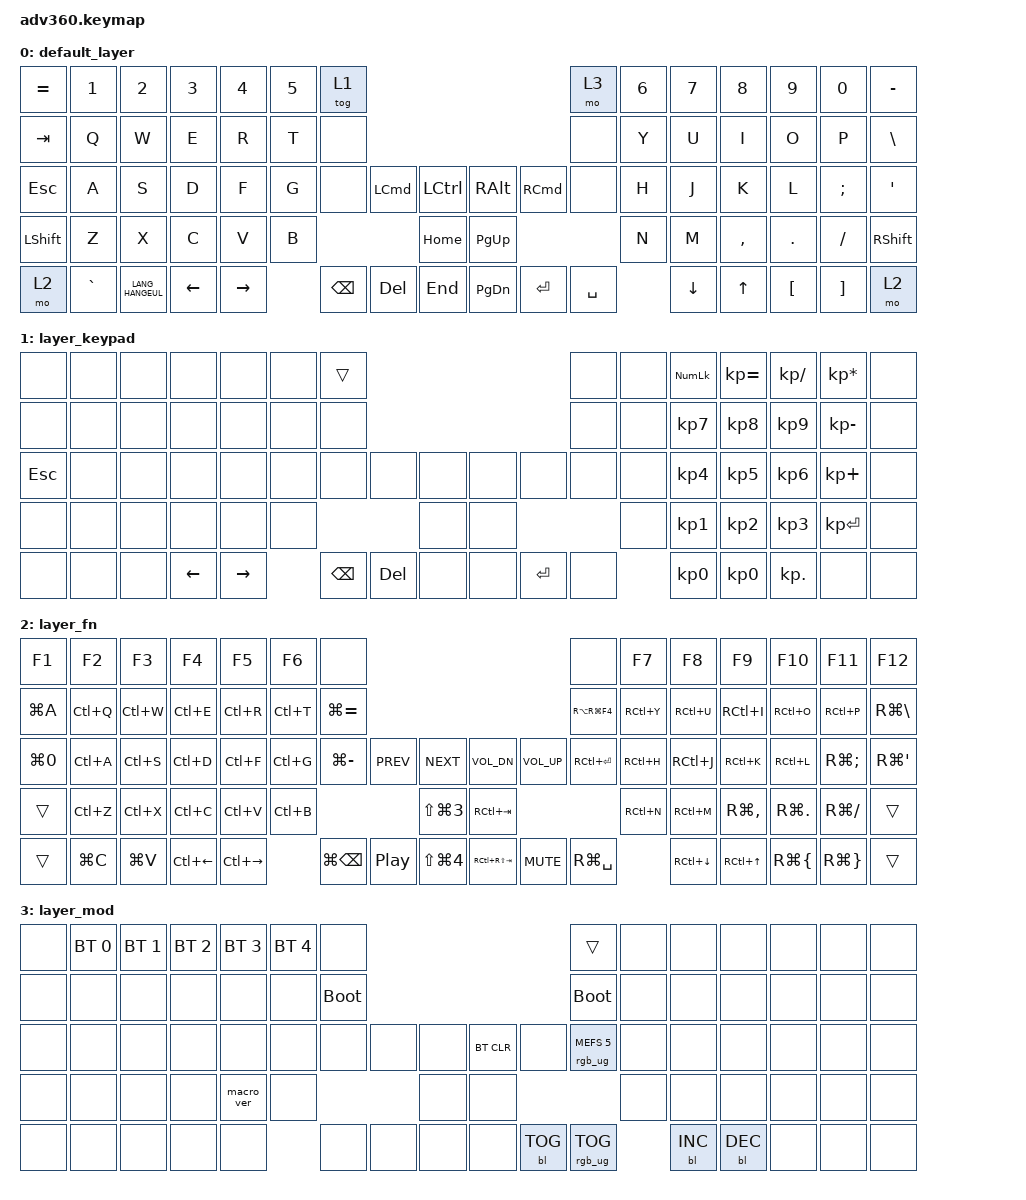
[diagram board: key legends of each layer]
/*
 * Copyright (c) 2020 The ZMK Contributors
 *
 * SPDX-License-Identifier: MIT
 */
/* THIS FILE WAS GENERATED!
 *
 * This file was generated automatically. You may or may not want to
 * edit it directly.
 */

#include <behaviors.dtsi>
#include <dt-bindings/zmk/backlight.h>
#include <dt-bindings/zmk/bt.h>
#include <dt-bindings/zmk/keys.h>
#include <dt-bindings/zmk/rgb.h>

/ {
    behaviors {
        #include "macros.dtsi"
    #include "version.dtsi"

        hm: homerow_mods {
            compatible = "zmk,behavior-hold-tap";
            label = "HOMEROW_MODS";
            #binding-cells = <2>;
            tapping-term-ms = <200>;
            quick_tap_ms = <175>;
            flavor = "tap-preferred";
            bindings = <&kp>, <&kp>;
        };
    };

    keymap {
        compatible = "zmk,keymap";

        default_layer {
            bindings = <
&kp EQUAL  &kp N1     &kp N2            &kp N3    &kp N4     &kp N5  &tog 1                                                       &mo 3      &kp N6  &kp N7    &kp N8        &kp N9            &kp N0             &kp MINUS
&kp TAB    &kp Q      &kp W             &kp E     &kp R      &kp T   &none                                                        &none      &kp Y   &kp U     &kp I         &kp O             &kp P              &kp BSLH
&kp ESC    &kp A      &kp S             &kp D     &kp F      &kp G   &none     &kp LCMD  &kp LCTRL      &kp RIGHT_ALT  &kp RCMD   &none      &kp H   &kp J     &kp K         &kp L             &kp SEMI           &kp SQT
&kp LSHFT  &kp Z      &kp X             &kp C     &kp V      &kp B                       &kp HOME       &kp PG_UP                            &kp N   &kp M     &kp COMMA     &kp DOT           &kp FSLH           &kp RSHFT
&mo 2      &kp GRAVE  &kp LANG_HANGEUL  &kp LEFT  &kp RIGHT          &kp BSPC  &kp DEL   &kp END        &kp PG_DN      &kp ENTER  &kp SPACE          &kp DOWN  &kp UP_ARROW  &kp LEFT_BRACKET  &kp RIGHT_BRACKET  &mo 2
            >;
        };

        layer_keypad {
            bindings = <
&none    &none  &none  &none     &none      &none  &trans                                          &none  &none  &kp KP_NUM  &kp KP_EQUAL  &kp KP_DIVIDE  &kp KP_MULTIPLY  &none
&none    &none  &none  &none     &none      &none  &none                                           &none  &none  &kp KP_N7   &kp KP_N8     &kp KP_N9      &kp KP_MINUS     &none
&kp ESC  &none  &none  &none     &none      &none  &none     &none    &none      &none  &none      &none  &none  &kp KP_N4   &kp KP_N5     &kp KP_N6      &kp KP_PLUS      &none
&none    &none  &none  &none     &none      &none                     &none      &none                    &none  &kp KP_N1   &kp KP_N2     &kp KP_N3      &kp KP_ENTER     &none
&none    &none  &none  &kp LEFT  &kp RIGHT         &kp BSPC  &kp DEL  &none      &none  &kp ENTER  &none         &kp KP_N0   &kp KP_N0     &kp KP_DOT     &none            &none
            >;
        };

        layer_fn {
            bindings = <
&kp F1            &kp F2     &kp F3     &kp F4        &kp F5         &kp F6     &none                                                                                            &none           &kp F7     &kp F8        &kp F9            &kp F10             &kp F11              &kp F12
&kp LG(A)         &kp LC(Q)  &kp LC(W)  &kp LC(E)     &kp LC(R)      &kp LC(T)  &kp LG(EQUAL)                                                                                    &kp RA(RG(F4))  &kp RC(Y)  &kp RC(U)     &kp RC(I)         &kp RC(O)           &kp RC(P)            &kp RG(BACKSLASH)
&kp LG(NUMBER_0)  &kp LC(A)  &kp LC(S)  &kp LC(D)     &kp LC(F)      &kp LC(G)  &kp LG(MINUS)      &kp C_PREV        &kp C_NEXT                &kp C_VOL_DN     &kp C_VOLUME_UP  &kp RC(ENTER)   &kp RC(H)  &kp RC(J)     &kp RC(K)         &kp RC(L)           &kp RG(SEMI)         &kp RG(SINGLE_QUOTE)
&trans            &kp LC(Z)  &kp LC(X)  &kp LC(C)     &kp LC(V)      &kp LC(B)                                       &kp LS(LG(NUMBER_3))      &kp RC(TAB)                                       &kp RC(N)  &kp RC(M)     &kp RG(COMMA)     &kp RG(DOT)         &kp RG(SLASH)        &trans
&trans            &kp LG(C)  &kp LG(V)  &kp LC(LEFT)  &kp LC(RIGHT)             &kp LG(BACKSPACE)  &kp C_PLAY_PAUSE  &kp LS(LG(NUMBER_4))      &kp RC(RS(TAB))  &kp C_MUTE       &kp RG(SPACE)              &kp RC(DOWN)  &kp RC(UP_ARROW)  &kp RG(LEFT_BRACE)  &kp RG(RIGHT_BRACE)  &trans
            >;
        };

        layer_mod {
            bindings = <
&none  &bt BT_SEL 0  &bt BT_SEL 1  &bt BT_SEL 2  &bt BT_SEL 3  &bt BT_SEL 4  &none                                                  &trans                  &none  &none       &none       &none  &none  &none
&none  &none         &none         &none         &none         &none         &bootloader                                            &bootloader             &none  &none       &none       &none  &none  &none
&none  &none         &none         &none         &none         &none         &none        &none  &none      &bt BT_CLR  &none       &rgb_ug RGB_MEFS_CMD 5  &none  &none       &none       &none  &none  &none
&none  &none         &none         &none         &macro_ver    &none                             &none      &none                                           &none  &none       &none       &none  &none  &none
&none  &none         &none         &none         &none                       &none        &none  &none      &none       &bl BL_TOG  &rgb_ug RGB_TOG                &bl BL_INC  &bl BL_DEC  &none  &none  &none
            >;
        };
    };
};
